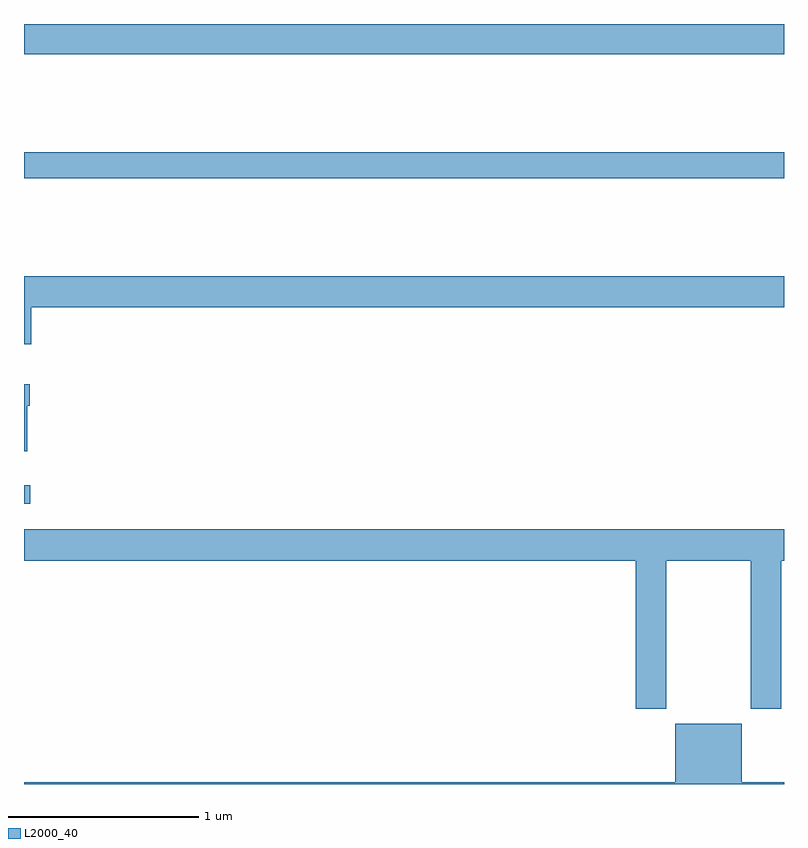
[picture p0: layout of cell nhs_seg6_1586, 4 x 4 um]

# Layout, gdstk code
import gdstk
lib = gdstk.Library(unit=1e-6, precision=1e-09)
def R(c, l, rs):  # rectangles x0, y0, x1, y1
    for r in rs: c.add(gdstk.rectangle(r[:2], r[2:], *l))
def P(c, l, *ps):  # polygons
    for p in ps: c.add(gdstk.Polygon(p, *l))
L2000_40 = (2000, 40)

nhs_seg6_1586 = lib.new_cell('nhs_seg6_1586')
R(nhs_seg6_1586, L2000_40, [(207,940.976,207.034,941.073), (207,942.688,211,942.824), (207,943.34,211,943.5)])
P(nhs_seg6_1586, L2000_40, [(207.038,942.008),(211,942.008),(211,942.172),(207,942.172),(207,941.814),(207.038,941.814)],
  [(207.016,941.492),(207.029,941.492),(207.029,941.605),(207,941.605),(207,941.252),(207.016,941.252)],
  [(210.381,940.676),(210.826,940.676),(210.826,939.897),(210.986,939.897),(210.986,940.676),(211,940.676),(211,940.84),(207,940.84),(207,940.676),(210.221,940.676),(210.221,939.897),(210.381,939.897)],
  [(211,939.508),(210.778,939.508),(210.778,939.817),(210.428,939.817),(210.428,939.508),(207,939.508),(207,939.5),(211,939.5)])

lib.write_gds('nhs_seg6_1586.gds')
